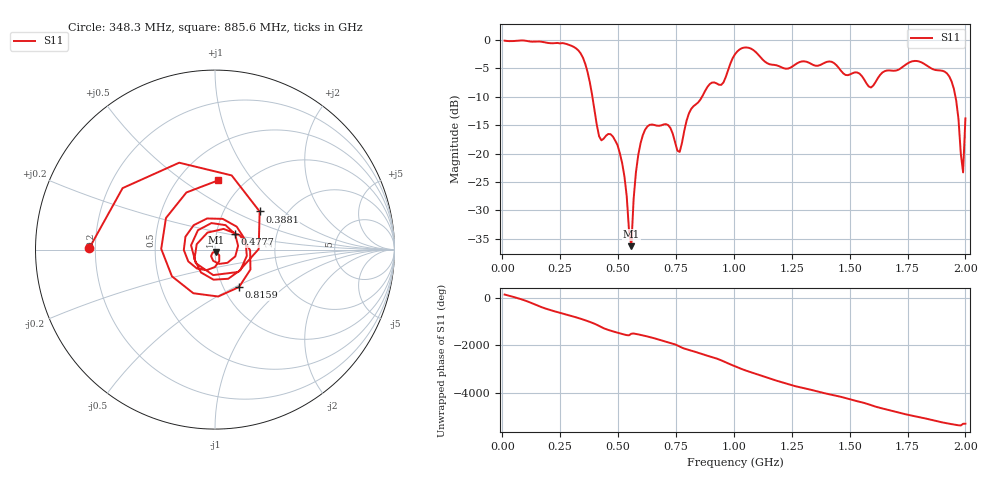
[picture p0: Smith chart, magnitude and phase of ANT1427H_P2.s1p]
!Created with skrf (http://scikit-rf.org).
# Hz S RI R 50.0
!freq ReS11 ImS11
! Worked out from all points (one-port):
!   201 points, 10 MHz to 2 GHz, reference 50 ohm
!   lowest |S11| = -36.3 dB at 557.2 MHz (marker M1), VSWR 1.03, Z = 50.7 - j1.38 ohm
!   |S11| at or under -10 dB: 389.2 MHz to 862.3 MHz (473.1 MHz wide, 75.6 % of centre); 1.957 GHz to end of sweep
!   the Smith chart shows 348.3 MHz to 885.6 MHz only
!   S11 on the Smith chart (normalised r, x): 348.3 MHz: 0.18, +0.01; 388.1 MHz: 1.47, +0.70; 477.6 MHz: 1.23, +0.22; 816 MHz: 1.18, -0.53; 885.6 MHz: 0.76, +0.69
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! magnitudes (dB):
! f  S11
! 10 MHz  -0.1
! 258.8 MHz  -0.5
! 348.3 MHz  -3.1
! 388.1 MHz  -9.7
! 417.9 MHz  -16.9
! 477.6 MHz  -17.0
! 507.5 MHz  -19.9
! 527.4 MHz  -24.0
! 557.2 MHz  -36.3
! 567.2 MHz  -28.0
! 577.1 MHz  -23.3
! 617 MHz  -15.8
! 716.5 MHz  -15.0
! 756.2 MHz  -19.5
! 816 MHz  -12.1
! 885.6 MHz  -8.3
! 955.2 MHz  -7.5
! 1.005 GHz  -2.5
! 1.065 GHz  -1.4
! 1.254 GHz  -4.6
! 1.413 GHz  -3.8
! 1.502 GHz  -6.0
! 1.592 GHz  -8.3
! 1.751 GHz  -4.1
! 1.93 GHz  -6.4
! 1.96 GHz  -10.6
! 1.99 GHz  -23.3
! 2 GHz  -13.8
